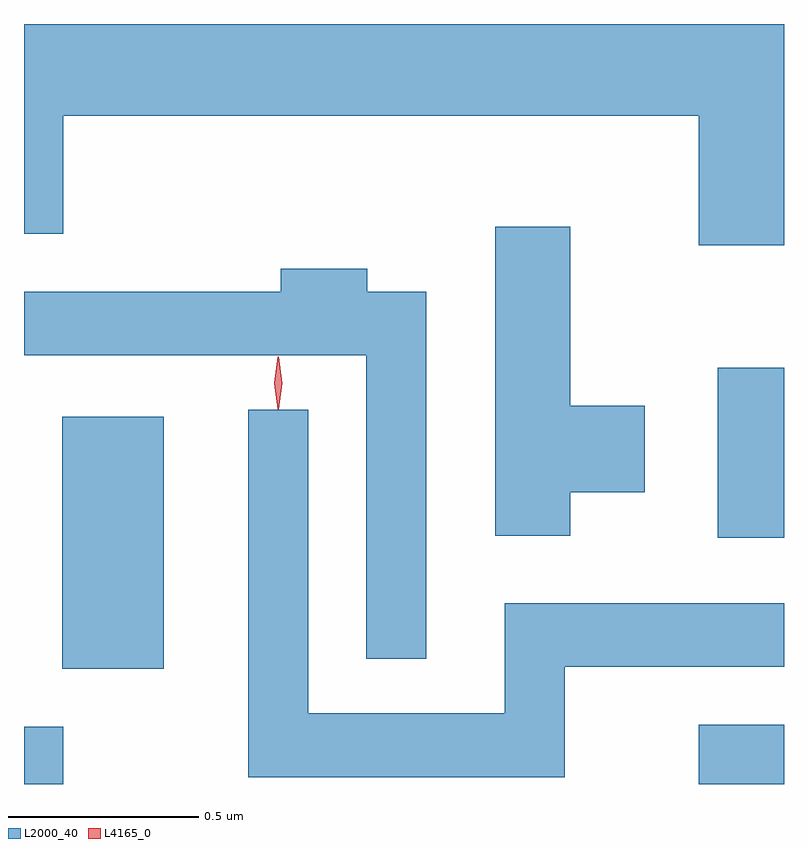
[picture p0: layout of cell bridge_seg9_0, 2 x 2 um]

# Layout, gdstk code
import gdstk
lib = gdstk.Library(unit=1e-6, precision=1e-09)
def R(c, l, rs):  # rectangles x0, y0, x1, y1
    for r in rs: c.add(gdstk.rectangle(r[:2], r[2:], *l))
def P(c, l, *ps):  # polygons
    for p in ps: c.add(gdstk.Polygon(p, *l))
L2000_40 = (2000, 40)
L4165_0 = (4165, 0)

bridge_seg9_0 = lib.new_cell('bridge_seg9_0')
R(bridge_seg9_0, L2000_40, [(1709.966,2078.858,1710.069,2079.009), (1711.741,2078.858,1711.966,2079.014), (1710.066,2079.161,1710.334,2079.824), (1711.791,2079.506,1711.966,2079.954)])
P(bridge_seg9_0, L2000_40, [(1711.966,2080.858),(1709.966,2080.858),(1709.966,2080.306),(1710.069,2080.306),(1710.069,2080.616),(1711.741,2080.616),(1711.741,2080.276),(1711.966,2080.276)],
  [(1711.404,2079.626),(1711.599,2079.626),(1711.599,2079.854),(1711.404,2079.854),(1711.404,2080.324),(1711.206,2080.324),(1711.206,2079.511),(1711.404,2079.511)],
  [(1711.024,2080.154),(1710.869,2080.154),(1710.869,2080.214),(1710.641,2080.214),(1710.641,2080.154),(1709.966,2080.154),(1709.966,2079.986),(1710.866,2079.986),(1710.866,2079.188),(1711.024,2079.188)],
  [(1711.389,2079.166),(1711.966,2079.166),(1711.966,2079.334),(1711.231,2079.334),(1711.231,2079.044),(1710.714,2079.044),(1710.714,2079.843),(1710.556,2079.843),(1710.556,2078.876),(1711.389,2078.876)])
P(bridge_seg9_0, L4165_0, [(1710.634,2079.844),(1710.625,2079.913),(1710.634,2079.982),(1710.635,2079.983),(1710.636,2079.982),(1710.645,2079.913),(1710.636,2079.844),(1710.635,2079.844)],
  [(1710.634,2079.847),(1710.634,2079.847),(1710.624,2079.914),(1710.634,2079.98),(1710.634,2079.98),(1710.635,2079.98),(1710.644,2079.914),(1710.635,2079.847)])

lib.write_gds('bridge_seg9_0.gds')
